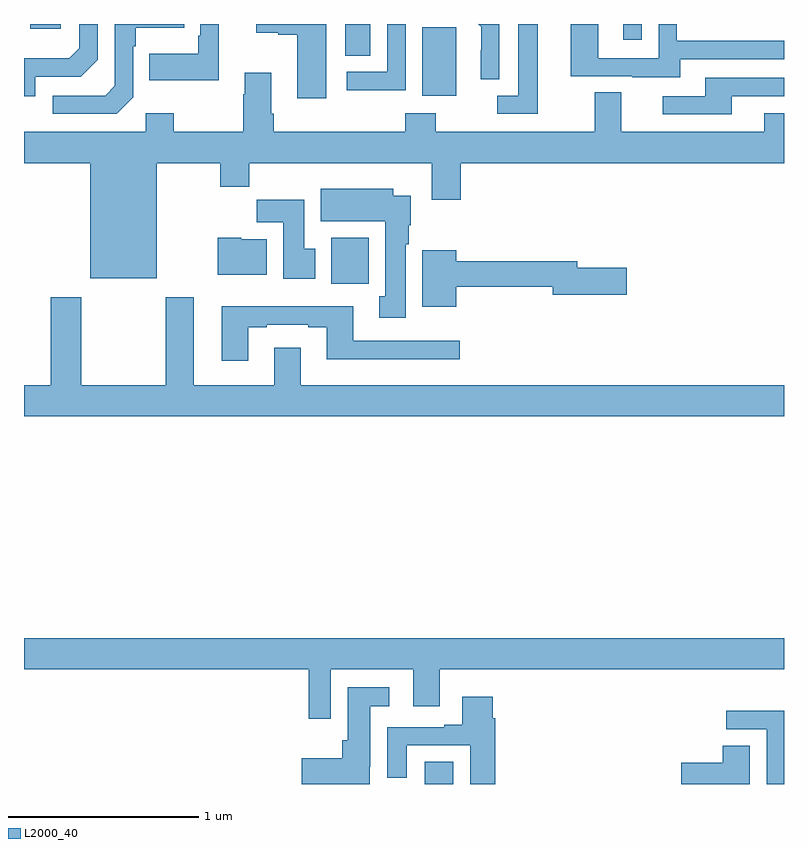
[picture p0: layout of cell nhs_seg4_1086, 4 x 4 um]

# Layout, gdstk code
import gdstk
lib = gdstk.Library(unit=1e-6, precision=1e-09)
def R(c, l, rs):  # rectangles x0, y0, x1, y1
    for r in rs: c.add(gdstk.rectangle(r[:2], r[2:], *l))
def P(c, l, *ps):  # polygons
    for p in ps: c.add(gdstk.Polygon(p, *l))
L2000_40 = (2000, 40)

nhs_seg4_1086 = lib.new_cell('nhs_seg4_1086')
R(nhs_seg4_1086, L2000_40, [(169.109,778.9,169.258,779.018), (168.617,781.532,168.814,781.774), (169.097,782.522,169.276,782.883), (168.692,782.734,168.823,782.9), (170.153,782.817,170.25,782.9), (167.033,782.876,167.194,782.9)])
P(nhs_seg4_1086, L2000_40, [(168.592,782.9),(168.222,782.9),(168.222,782.855),(168.338,782.855),(168.338,782.843),(168.437,782.843),(168.437,782.508),(168.592,782.508)],
  [(170.455,782.715),(171,782.715),(171,782.811),(170.436,782.811),(170.436,782.9),(170.34,782.9),(170.34,782.721),(170.022,782.721),(170.022,782.9),(169.877,782.9),(169.877,782.625),(170.201,782.625),(170.201,782.621),(170.455,782.621)],
  [(169.705,782.9),(169.601,782.9),(169.601,782.523),(169.491,782.523),(169.491,782.427),(169.705,782.427)],
  [(168.026,782.9),(167.928,782.9),(167.928,782.839),(167.916,782.839),(167.916,782.743),(167.659,782.743),(167.659,782.603),(168.026,782.603)],
  [(167.574,782.514),(167.574,782.783),(167.587,782.783),(167.587,782.879),(167.843,782.879),(167.843,782.9),(167.478,782.9),(167.478,782.574),(167.427,782.523),(167.151,782.523),(167.151,782.427),(167.487,782.427)],
  [(169.5,782.9),(169.391,782.9),(169.406,782.885),(169.406,782.762),(169.404,782.762),(169.404,782.608),(169.5,782.608)],
  [(169.008,782.9),(168.912,782.9),(168.912,782.649),(168.699,782.649),(168.699,782.551),(169.008,782.551)],
  [(167.058,782.622),(167.298,782.622),(167.388,782.712),(167.388,782.9),(167.292,782.9),(167.292,782.772),(167.239,782.719),(167,782.719),(167,782.52),(167.058,782.52)],
  [(167.698,782.168),(168.034,782.168),(168.034,782.044),(168.185,782.044),(168.185,782.168),(169.145,782.168),(169.145,781.974),(169.298,781.974),(169.298,782.168),(171,782.168),(171,782.431),(170.897,782.431),(170.897,782.332),(170.143,782.332),(170.143,782.54),(170.003,782.54),(170.003,782.332),(169.167,782.332),(169.167,782.431),(169.007,782.431),(169.007,782.332),(168.314,782.332),(168.314,782.428),(168.301,782.428),(168.301,782.644),(168.161,782.644),(168.161,782.531),(168.154,782.531),(168.154,782.332),(167.787,782.332),(167.787,782.431),(167.64,782.431),(167.64,782.332),(167,782.332),(167,782.168),(167.348,782.168),(167.348,781.562),(167.698,781.562)],
  [(170.725,782.52),(171,782.52),(171,782.616),(170.585,782.616),(170.585,782.52),(170.361,782.52),(170.361,782.424),(170.725,782.424)],
  [(169.009,781.742),(169.024,781.742),(169.024,781.842),(169.036,781.842),(169.036,781.996),(168.943,781.996),(168.943,782.032),(168.563,782.032),(168.563,781.862),(168.902,781.862),(168.902,781.466),(168.869,781.466),(168.869,781.353),(169.009,781.353)],
  [(168.532,781.716),(168.475,781.716),(168.475,781.974),(168.226,781.974),(168.226,781.856),(168.365,781.856),(168.365,781.56),(168.532,781.56)],
  [(168.277,781.768),(168.144,781.768),(168.144,781.774),(168.019,781.774),(168.019,781.58),(168.277,781.58)],
  [(169.276,781.516),(169.784,781.516),(169.784,781.474),(170.173,781.474),(170.173,781.616),(169.912,781.616),(169.912,781.652),(169.276,781.652),(169.276,781.708),(169.097,781.708),(169.097,781.412),(169.276,781.412)],
  [(171,781),(168.457,781),(168.457,781.195),(168.317,781.195),(168.317,781),(167.893,781),(167.893,781.462),(167.746,781.462),(167.746,781),(167.301,781),(167.301,781.462),(167.141,781.462),(167.141,781),(167,781),(167,780.836),(171,780.836)],
  [(168.181,781.305),(168.277,781.305),(168.277,781.317),(168.497,781.317),(168.497,781.305),(168.593,781.305),(168.593,781.136),(169.294,781.136),(169.294,781.233),(168.733,781.233),(168.733,781.414),(168.041,781.414),(168.041,781.128),(168.181,781.128)],
  [(168.615,779.504),(169.049,779.504),(169.049,779.31),(169.189,779.31),(169.189,779.504),(171,779.504),(171,779.668),(167,779.668),(167,779.504),(168.499,779.504),(168.499,779.244),(168.615,779.244)],
  [(168.819,778.99),(168.823,778.99),(168.823,779.309),(168.922,779.309),(168.922,779.41),(168.704,779.41),(168.704,779.13),(168.674,779.13),(168.674,779.035),(168.462,779.035),(168.462,778.9),(168.819,778.9)],
  [(169.481,779.246),(169.468,779.246),(169.468,779.359),(169.307,779.359),(169.307,779.212),(169.211,779.212),(169.211,779.199),(168.911,779.199),(168.911,778.932),(169.015,778.932),(169.015,779.103),(169.349,779.103),(169.349,778.9),(169.481,778.9)],
  [(171,779.286),(170.697,779.286),(170.697,779.187),(170.91,779.187),(170.91,778.9),(171,778.9)],
  [(170.821,779.102),(170.678,779.102),(170.678,779.012),(170.46,779.012),(170.46,778.9),(170.821,778.9)])

lib.write_gds('nhs_seg4_1086.gds')
